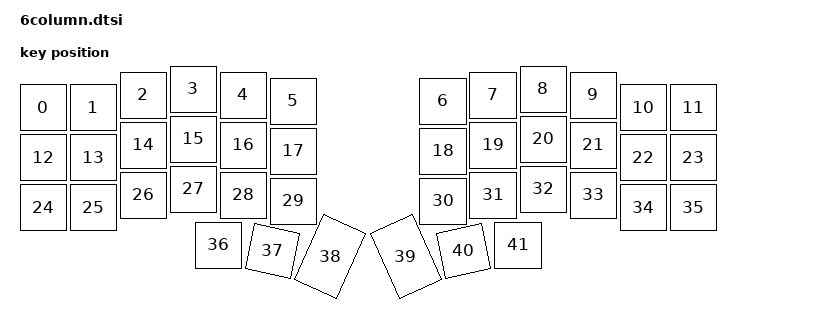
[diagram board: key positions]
#include <layouts/foostan/corne/position_map.dtsi>
#include <physical_layouts.dtsi>

/ {
    foostan_corne_6col_layout: foostan_corne_6col_layout {
        compatible = "zmk,physical-layout";
        display-name = "6 Column";

        keys  //                     w   h    x    y     rot    rx    ry
            = <&key_physical_attrs 100 100    0   37       0     0     0>
            , <&key_physical_attrs 100 100  100   37       0     0     0>
            , <&key_physical_attrs 100 100  200   12       0     0     0>
            , <&key_physical_attrs 100 100  300    0       0     0     0>
            , <&key_physical_attrs 100 100  400   12       0     0     0>
            , <&key_physical_attrs 100 100  500   24       0     0     0>
            , <&key_physical_attrs 100 100  800   24       0     0     0>
            , <&key_physical_attrs 100 100  900   12       0     0     0>
            , <&key_physical_attrs 100 100 1000    0       0     0     0>
            , <&key_physical_attrs 100 100 1100   12       0     0     0>
            , <&key_physical_attrs 100 100 1200   37       0     0     0>
            , <&key_physical_attrs 100 100 1300   37       0     0     0>
            , <&key_physical_attrs 100 100    0  137       0     0     0>
            , <&key_physical_attrs 100 100  100  137       0     0     0>
            , <&key_physical_attrs 100 100  200  112       0     0     0>
            , <&key_physical_attrs 100 100  300  100       0     0     0>
            , <&key_physical_attrs 100 100  400  112       0     0     0>
            , <&key_physical_attrs 100 100  500  124       0     0     0>
            , <&key_physical_attrs 100 100  800  124       0     0     0>
            , <&key_physical_attrs 100 100  900  112       0     0     0>
            , <&key_physical_attrs 100 100 1000  100       0     0     0>
            , <&key_physical_attrs 100 100 1100  112       0     0     0>
            , <&key_physical_attrs 100 100 1200  137       0     0     0>
            , <&key_physical_attrs 100 100 1300  137       0     0     0>
            , <&key_physical_attrs 100 100    0  237       0     0     0>
            , <&key_physical_attrs 100 100  100  237       0     0     0>
            , <&key_physical_attrs 100 100  200  212       0     0     0>
            , <&key_physical_attrs 100 100  300  200       0     0     0>
            , <&key_physical_attrs 100 100  400  212       0     0     0>
            , <&key_physical_attrs 100 100  500  224       0     0     0>
            , <&key_physical_attrs 100 100  800  224       0     0     0>
            , <&key_physical_attrs 100 100  900  212       0     0     0>
            , <&key_physical_attrs 100 100 1000  200       0     0     0>
            , <&key_physical_attrs 100 100 1100  212       0     0     0>
            , <&key_physical_attrs 100 100 1200  237       0     0     0>
            , <&key_physical_attrs 100 100 1300  237       0     0     0>
            , <&key_physical_attrs 100 100  350  312       0     0     0>
            , <&key_physical_attrs 100 100  450  312    1200   450   412>
            , <&key_physical_attrs 100 150  548  283    2400   548   433>
            , <&key_physical_attrs 100 150  752  283  (-2400)  852   433>
            , <&key_physical_attrs 100 100  850  312  (-1200)  950   412>
            , <&key_physical_attrs 100 100  950  312       0     0     0>
        ;
    };
};

&layouts_foostan_corne_position_map {
    foostan_corne_6col_posmap: six {
        physical-layout = <&foostan_corne_6col_layout>;
        positions
            = < 0  1  2  3  4  5  6  7  8  9 10 11>
            , <12 13 14 15 16 17 18 19 20 21 22 23>
            , <24 25 26 27 28 29 30 31 32 33 34 35>
            , <         36 37 38 39 40 41         >;
    };
};
